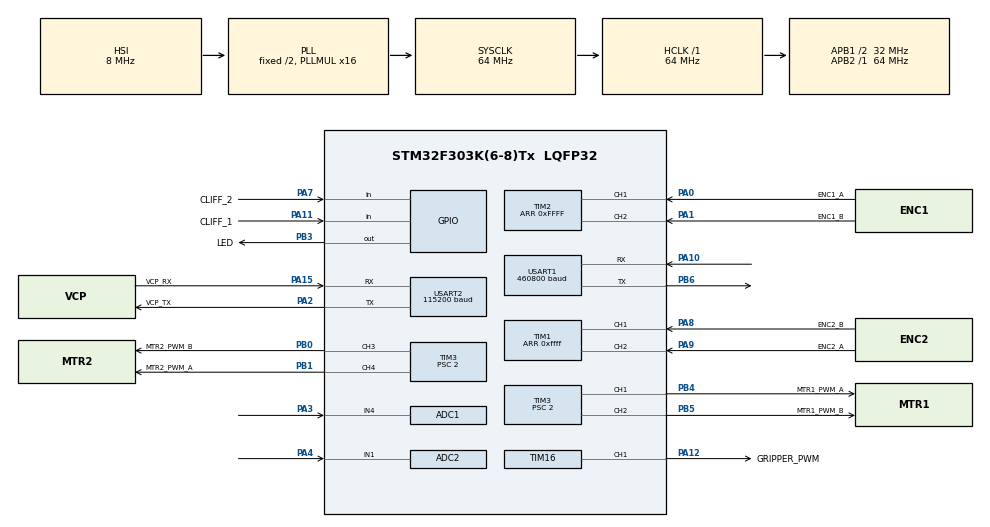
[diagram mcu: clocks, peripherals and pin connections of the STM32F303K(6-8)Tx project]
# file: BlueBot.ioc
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ADC1.Channel-0\#ChannelRegularConversion=ADC_CHANNEL_4
ADC1.ContinuousConvMode=DISABLE
ADC1.EOCSelection=ADC_EOC_SEQ_CONV
ADC1.EnableInjectedConversion=DISABLE
ADC1.ExternalTrigConv=ADC_EXTERNALTRIGCONV_T6_TRGO
ADC1.NbrOfConversionFlag=1
ADC1.Offset-0\#ChannelRegularConversion=0
ADC1.OffsetNumber-0\#ChannelRegularConversion=ADC_OFFSET_NONE
ADC1.Rank-0\#ChannelRegularConversion=1
ADC1.SamplingTime-0\#ChannelRegularConversion=ADC_SAMPLETIME_61CYCLES_5
ADC1.SubFamily=STM32F303x8
ADC1.master=1
ADC2.Channel-0\#ChannelRegularConversion=ADC_CHANNEL_1
ADC2.ContinuousConvMode=DISABLE
ADC2.EOCSelection=ADC_EOC_SEQ_CONV
ADC2.EnableInjectedConversion=DISABLE
ADC2.ExternalTrigConv=ADC_EXTERNALTRIGCONV_T6_TRGO
ADC2.NbrOfConversionFlag=1
ADC2.Offset-0\#ChannelRegularConversion=0
ADC2.OffsetNumber-0\#ChannelRegularConversion=ADC_OFFSET_NONE
ADC2.Rank-0\#ChannelRegularConversion=1
ADC2.SamplingTime-0\#ChannelRegularConversion=ADC_SAMPLETIME_61CYCLES_5
ADC2.SamplingTimeOPAMP-0\#ChannelRegularConversion=ADC_SAMPLETIME_61CYCLES_5
ADC2.SubFamily=STM32F303x8
Dma.Request0=USART1_TX
Dma.USART1_TX.0.Direction=DMA_MEMORY_TO_PERIPH
Dma.USART1_TX.0.Instance=DMA1_Channel4
Dma.USART1_TX.0.MemDataAlignment=DMA_MDATAALIGN_BYTE
Dma.USART1_TX.0.MemInc=DMA_MINC_ENABLE
Dma.USART1_TX.0.Mode=DMA_NORMAL
Dma.USART1_TX.0.PeriphDataAlignment=DMA_PDATAALIGN_BYTE
Dma.USART1_TX.0.PeriphInc=DMA_PINC_DISABLE
Dma.USART1_TX.0.Priority=DMA_PRIORITY_LOW
Mcu.Family=STM32F3
Mcu.Name=STM32F303K(6-8)Tx
Mcu.Package=LQFP32
Mcu.UserConstants=MTR_PWM_PERIOD,1280
NVIC.ADC1_2_IRQn=true\:0\:0\:false\:false\:true\:true\:true
NVIC.DMA1_Channel4_IRQn=true\:0\:0\:false\:false\:true\:false\:true
NVIC.PriorityGroup=NVIC_PRIORITYGROUP_4
NVIC.USART1_IRQn=true\:0\:0\:false\:false\:true\:true\:true
PA0.GPIO_Label=ENC1_A
PA0.Signal=S_TIM2_CH1_ETR
PA1.GPIO_Label=ENC1_B
PA1.Signal=S_TIM2_CH2
PA10.Mode=Asynchronous
PA10.Signal=USART1_RX
PA11.GPIO_Label=CLIFF_1
PA11.Signal=GPIO_Input
PA12.GPIO_Label=GRIPPER_PWM
PA12.Signal=S_TIM16_CH1
PA13.GPIO_Label=SWDIO
PA13.Mode=Serial_Wire
PA13.Signal=SYS_JTMS-SWDIO
PA14.GPIO_Label=SWCLK
PA14.Mode=Serial_Wire
PA14.Signal=SYS_JTCK-SWCLK
PA15.GPIO_Label=VCP_RX
PA15.Mode=Asynchronous
PA15.Signal=USART2_RX
PA2.GPIO_Label=VCP_TX
PA2.Mode=Asynchronous
PA2.Signal=USART2_TX
PA3.Mode=IN4-Single-Ended
PA3.Signal=ADC1_IN4
PA4.Mode=IN1-Single-Ended
PA4.Signal=ADC2_IN1
PA7.GPIO_Label=CLIFF_2
PA7.Signal=GPIO_Input
PA8.GPIO_Label=ENC2_B
PA8.Signal=S_TIM1_CH1
PA9.GPIO_Label=ENC2_A
PA9.Signal=S_TIM1_CH2
PB0.GPIO_Label=MTR2_PWM_B
PB0.Signal=S_TIM3_CH3
PB1.GPIO_Label=MTR2_PWM_A
PB1.Signal=S_TIM3_CH4
PB3.GPIO_Label=LED
PB3.Signal=GPIO_Output
PB4.GPIO_Label=MTR1_PWM_A
PB4.Signal=S_TIM3_CH1
PB5.GPIO_Label=MTR1_PWM_B
PB5.Signal=S_TIM3_CH2
PB6.Mode=Asynchronous
PB6.Signal=USART1_TX
ProjectManager.HeapSize=0x200
ProjectManager.StackSize=0x400
ProjectManager.TargetToolchain=STM32CubeIDE
RCC.AHBFreq_Value=64000000
RCC.APB1CLKDivider=RCC_HCLK_DIV2
RCC.APB1Freq_Value=32000000
RCC.APB1TimFreq_Value=64000000
RCC.APB2Freq_Value=64000000
RCC.APB2TimFreq_Value=64000000
RCC.CortexFreq_Value=64000000
RCC.HCLKFreq_Value=64000000
RCC.HSE_VALUE=8000000
RCC.HSI_VALUE=8000000
RCC.PLLMUL=RCC_PLL_MUL16
RCC.SYSCLKFreq_VALUE=64000000
RCC.SYSCLKSourceVirtual=RCC_SYSCLKSOURCE_PLLCLK
RCC.Usart1ClockSelection=RCC_USART1CLKSOURCE_SYSCLK
SH.S_TIM16_CH1.0=TIM16_CH1,PWM Generation1 CH1
SH.S_TIM1_CH1.0=TIM1_CH1,Encoder_Interface
SH.S_TIM1_CH2.0=TIM1_CH2,Encoder_Interface
SH.S_TIM2_CH1_ETR.0=TIM2_CH1,Encoder_Interface
SH.S_TIM2_CH2.0=TIM2_CH2,Encoder_Interface
SH.S_TIM3_CH1.0=TIM3_CH1,PWM Generation1 CH1
SH.S_TIM3_CH2.0=TIM3_CH2,PWM Generation2 CH2
SH.S_TIM3_CH3.0=TIM3_CH3,PWM Generation3 CH3
SH.S_TIM3_CH4.0=TIM3_CH4,PWM Generation4 CH4
STMicroelectronics.X-CUBE-ALGOBUILD.1.1.0.LibraryCcDSPOoLibraryJjDSPOoLibrary=true
TIM1.EncoderMode=TIM_ENCODERMODE_TI12
TIM1.Period=0xffff
TIM16.AutoReloadPreload=TIM_AUTORELOAD_PRELOAD_ENABLE
TIM16.Channel=TIM_CHANNEL_1
TIM16.Period=20833
TIM16.Prescaler=64
TIM16.Pulse=1000
TIM2.EncoderMode=TIM_ENCODERMODE_TI12
TIM2.Period=0xFFFF
TIM3.AutoReloadPreload=TIM_AUTORELOAD_PRELOAD_ENABLE
TIM3.Channel-PWM\ Generation1\ CH1=TIM_CHANNEL_1
TIM3.Channel-PWM\ Generation2\ CH2=TIM_CHANNEL_2
TIM3.Channel-PWM\ Generation3\ CH3=TIM_CHANNEL_3
TIM3.Channel-PWM\ Generation4\ CH4=TIM_CHANNEL_4
TIM3.Period=MTR_PWM_PERIOD
TIM3.Prescaler=2
TIM6.Period=8
TIM6.Prescaler=64000
TIM6.TIM_MasterOutputTrigger=TIM_TRGO_UPDATE
USART1.BaudRate=460800
USART1.VirtualMode-Asynchronous=VM_ASYNC
USART2.BaudRate=115200
USART2.VirtualMode-Asynchronous=VM_ASYNC
VP_STMicroelectronics.X-CUBE-ALGOBUILD_VS_DSPOoLibraryJjLibrary_1.1.0.Mode=DSPOoLibraryJjLibrary
VP_TIM16_VS_ClockSourceINT.Mode=Enable_Timer
VP_TIM17_VS_ClockSourceINT.Mode=Enable_Timer
VP_TIM6_VS_ClockSourceINT.Mode=Enable_Timer
board=NUCLEO-F303K8

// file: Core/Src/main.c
/* USER CODE BEGIN Header */
/**
  ******************************************************************************
  * @file           : main.c
  * @brief          : Main program body
  ******************************************************************************
  * @attention
  *
  * <h2><center>&copy; Copyright (c) 2020 STMicroelectronics.
  * All rights reserved.</center></h2>
  *
  * This software component is licensed by ST under BSD 3-Clause license,
  * the "License"; You may not use this file except in compliance with the
  * License. You may obtain a copy of the License at:
  *                        opensource.org/licenses/BSD-3-Clause
  *
  ******************************************************************************
  */
/* USER CODE END Header */
#include "main.h"
#include "adc.h"
#include "dma.h"
#include "tim.h"
#include "usart.h"
#include "gpio.h"

/* USER CODE BEGIN Includes */
#include <stdio.h>
#include "app_main.h"
/* USER CODE END Includes */

void SystemClock_Config(void);

int main(void)
{

  /* MCU Configuration--------------------------------------------------------*/

  /* Reset of all peripherals, Initializes the Flash interface and the Systick. */
  HAL_Init();

  /* Configure the system clock */
  SystemClock_Config();

  /* Initialize all configured peripherals */
  MX_GPIO_Init();
  MX_DMA_Init();
  MX_USART2_UART_Init();
  MX_TIM1_Init();
  MX_TIM2_Init();
  MX_TIM3_Init();
  MX_TIM17_Init();
  MX_USART1_UART_Init();
  MX_ADC1_Init();
  MX_ADC2_Init();
  MX_TIM16_Init();
  MX_TIM6_Init();
  /* USER CODE BEGIN 2 */

  app_main(); // call the application main loop, never returns

  /* USER CODE END 2 */

  /* Infinite loop */

}

void SystemClock_Config(void)
{
  RCC_OscInitTypeDef RCC_OscInitStruct = {0};
  RCC_ClkInitTypeDef RCC_ClkInitStruct = {0};
  RCC_PeriphCLKInitTypeDef PeriphClkInit = {0};

  /** Initializes the RCC Oscillators according to the specified parameters
  * in the RCC_OscInitTypeDef structure.
  */
  RCC_OscInitStruct.OscillatorType = RCC_OSCILLATORTYPE_HSI;
  RCC_OscInitStruct.HSIState = RCC_HSI_ON;
  RCC_OscInitStruct.HSICalibrationValue = RCC_HSICALIBRATION_DEFAULT;
  RCC_OscInitStruct.PLL.PLLState = RCC_PLL_ON;
  RCC_OscInitStruct.PLL.PLLSource = RCC_PLLSOURCE_HSI;
  RCC_OscInitStruct.PLL.PLLMUL = RCC_PLL_MUL16;
  if (HAL_RCC_OscConfig(&RCC_OscInitStruct) != HAL_OK)
  {
    Error_Handler();
  }
  /** Initializes the CPU, AHB and APB buses clocks
  */
  RCC_ClkInitStruct.ClockType = RCC_CLOCKTYPE_HCLK|RCC_CLOCKTYPE_SYSCLK
                              |RCC_CLOCKTYPE_PCLK1|RCC_CLOCKTYPE_PCLK2;
  RCC_ClkInitStruct.SYSCLKSource = RCC_SYSCLKSOURCE_PLLCLK;
  RCC_ClkInitStruct.AHBCLKDivider = RCC_SYSCLK_DIV1;
  RCC_ClkInitStruct.APB1CLKDivider = RCC_HCLK_DIV2;
  RCC_ClkInitStruct.APB2CLKDivider = RCC_HCLK_DIV1;

  if (HAL_RCC_ClockConfig(&RCC_ClkInitStruct, FLASH_LATENCY_2) != HAL_OK)
  {
    Error_Handler();
  }
  PeriphClkInit.PeriphClockSelection = RCC_PERIPHCLK_USART1|RCC_PERIPHCLK_TIM1
                              |RCC_PERIPHCLK_ADC12;
  PeriphClkInit.Usart1ClockSelection = RCC_USART1CLKSOURCE_SYSCLK;
  PeriphClkInit.Adc12ClockSelection = RCC_ADC12PLLCLK_DIV1;
  PeriphClkInit.Tim1ClockSelection = RCC_TIM1CLK_HCLK;
  if (HAL_RCCEx_PeriphCLKConfig(&PeriphClkInit) != HAL_OK)
  {
    Error_Handler();
  }
}

/* USER CODE BEGIN 4 */

#define IO_UART huart2 // set to uart used for serial IO

// Implement uart IO functions for syscalls module

int __io_putchar(int ch) {

	HAL_StatusTypeDef sts = HAL_UART_Transmit(&IO_UART,(uint8_t*)&ch,1,10);
	if(sts == HAL_OK) {
		return ch;
	}
	return EOF;
}

int __io_getchar(void) {

	if(__HAL_UART_GET_FLAG(&IO_UART, UART_FLAG_RXNE)) {
		uint8_t ch=0;

		__HAL_UART_CLEAR_FEFLAG(&IO_UART);
		__HAL_UART_CLEAR_OREFLAG(&IO_UART);
		__HAL_UART_CLEAR_PEFLAG(&IO_UART);

		HAL_StatusTypeDef sts = HAL_UART_Receive(&IO_UART,&ch,1,1);
		if(sts == HAL_OK) {
			return (int)ch;
		}
	}
	return EOF;
}
int _read(int file, char *ptr, int len)
{
	int DataIdx;

	for (DataIdx = 0; DataIdx < len; DataIdx++)
	{
		int ch =  __io_getchar();
		if(ch != EOF) {
		  *ptr++ = ch;
		}
		else {
			return DataIdx;
		}
	}

    return len;
}

/* USER CODE END 4 */

void Error_Handler(void)
{
}

/************************ (C) COPYRIGHT STMicroelectronics *****END OF FILE****/
